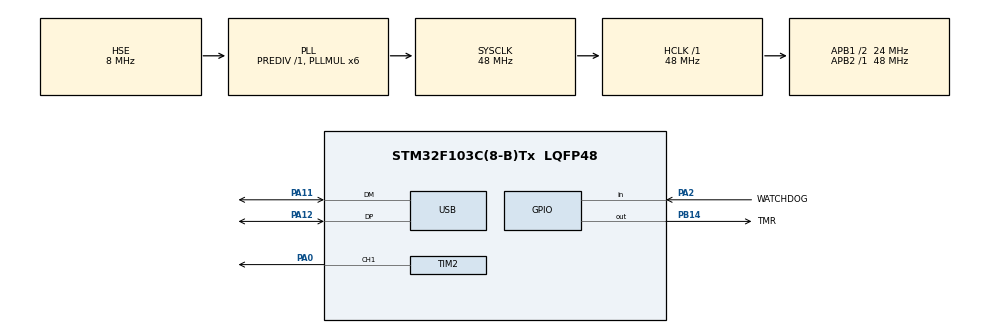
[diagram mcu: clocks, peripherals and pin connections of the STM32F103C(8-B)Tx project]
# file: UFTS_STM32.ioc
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Mcu.Family=STM32F1
Mcu.Name=STM32F103C(8-B)Tx
Mcu.Package=LQFP48
NVIC.PriorityGroup=NVIC_PRIORITYGROUP_4
NVIC.USB_LP_CAN1_RX0_IRQn=true\:0\:0\:false\:false\:true\:false\:true
PA0-WKUP.Signal=S_TIM2_CH1_ETR
PA11.Mode=Device
PA11.Signal=USB_DM
PA12.Mode=Device
PA12.Signal=USB_DP
PA13.Mode=Serial_Wire
PA13.Signal=SYS_JTMS-SWDIO
PA14.Mode=Serial_Wire
PA14.Signal=SYS_JTCK-SWCLK
PA2.GPIO_Label=WATCHDOG
PA2.Signal=GPIO_Input
PB14.GPIO_Label=TMR
PB14.GPIO_Speed=GPIO_SPEED_FREQ_HIGH
PB14.Signal=GPIO_Output
PD0-OSC_IN.Mode=HSE-External-Oscillator
PD0-OSC_IN.Signal=RCC_OSC_IN
PD1-OSC_OUT.Mode=HSE-External-Oscillator
PD1-OSC_OUT.Signal=RCC_OSC_OUT
ProjectManager.HeapSize=0x200
ProjectManager.StackSize=0x400
ProjectManager.TargetToolchain=SW4STM32
RCC.AHBFreq_Value=48000000
RCC.APB1CLKDivider=RCC_HCLK_DIV2
RCC.APB1Freq_Value=24000000
RCC.APB1TimFreq_Value=48000000
RCC.APB2Freq_Value=48000000
RCC.APB2TimFreq_Value=48000000
RCC.HCLKFreq_Value=48000000
RCC.PLLMUL=RCC_PLL_MUL6
RCC.SYSCLKFreq_VALUE=48000000
RCC.SYSCLKSource=RCC_SYSCLKSOURCE_PLLCLK
RCC.USBFreq_Value=48000000
SH.S_TIM2_CH1_ETR.0=TIM2_CH1,PWM Generation1 CH1
TIM2.Channel-PWM\ Generation1\ CH1=TIM_CHANNEL_1
TIM2.Period=255-1
TIM2.Prescaler=738-1
USB_DEVICE.CLASS_NAME_FS=CDC
USB_DEVICE.VirtualMode=Cdc
USB_DEVICE.VirtualModeFS=Cdc_FS
VP_TIM2_VS_ClockSourceINT.Mode=Internal
VP_USB_DEVICE_VS_USB_DEVICE_CDC_FS.Mode=CDC_FS
board=custom

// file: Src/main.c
/* USER CODE BEGIN Header */
/**
  ******************************************************************************
  * @file           : main.c
  * @brief          : Main program body
  ******************************************************************************
  * @attention
  *
  * <h2><center>&copy; Copyright (c) 2020 STMicroelectronics.
  * All rights reserved.</center></h2>
  *
  * This software component is licensed by ST under Ultimate Liberty license
  * SLA0044, the "License"; You may not use this file except in compliance with
  * the License. You may obtain a copy of the License at:
  *                             www.st.com/SLA0044
  *
  ******************************************************************************
  */
/* USER CODE END Header */

#include "main.h"
#include "usb_device.h"

/* USER CODE BEGIN Includes */
#include <stdio.h>
#include <stdlib.h>
#include <time.h>
#include <string.h>
/* USER CODE END Includes */

TIM_HandleTypeDef htim2;

void SystemClock_Config(void);
static void MX_GPIO_Init(void);
static void MX_TIM2_Init(void);

/* USER CODE BEGIN 0 */
void postcodeInit() {
	htim2.Instance->CCR1 = 100;
	HAL_Delay(100);
	htim2.Instance->CCR1 = 0;
}
/* USER CODE END 0 */

int main(void)
{

  /* MCU Configuration--------------------------------------------------------*/

  /* Reset of all peripherals, Initializes the Flash interface and the Systick. */
  HAL_Init();

  /* USER CODE BEGIN Init */
  srand(time(0));

  char buf[16];
  /* USER CODE END Init */

  /* Configure the system clock */
  SystemClock_Config();

  /* Initialize all configured peripherals */
  MX_GPIO_Init();
  MX_USB_DEVICE_Init();
  MX_TIM2_Init();
  /* USER CODE BEGIN 2 */
  HAL_TIM_PWM_Start(&htim2, TIM_CHANNEL_1);
  /* USER CODE END 2 */

  /* Infinite loop */
  /* USER CODE BEGIN WHILE */
  postcodeInit();

  while (1)
  {
	  int watchdogValue = HAL_GPIO_ReadPin(WATCHDOG_GPIO_Port, WATCHDOG_Pin);

	  snprintf(buf, sizeof buf, "$%d; ", watchdogValue);

	  CDC_Transmit_FS(buf, strlen(buf));
	  memset(buf, 0, sizeof(buf));

	  int randNumber = rand() % 10;
	  if (randNumber >= 3) {
		  HAL_GPIO_WritePin(TMR_GPIO_Port, TMR_Pin, GPIO_PIN_SET);
	  }

	  HAL_Delay(1);

	  HAL_GPIO_WritePin(TMR_GPIO_Port, TMR_Pin, GPIO_PIN_RESET);

	  HAL_Delay(1);
    /* USER CODE END WHILE */

  }
}

void SystemClock_Config(void)
{
  RCC_OscInitTypeDef RCC_OscInitStruct = {0};
  RCC_ClkInitTypeDef RCC_ClkInitStruct = {0};
  RCC_PeriphCLKInitTypeDef PeriphClkInit = {0};

  /** Initializes the CPU, AHB and APB busses clocks
  */
  RCC_OscInitStruct.OscillatorType = RCC_OSCILLATORTYPE_HSE;
  RCC_OscInitStruct.HSEState = RCC_HSE_ON;
  RCC_OscInitStruct.HSEPredivValue = RCC_HSE_PREDIV_DIV1;
  RCC_OscInitStruct.HSIState = RCC_HSI_ON;
  RCC_OscInitStruct.PLL.PLLState = RCC_PLL_ON;
  RCC_OscInitStruct.PLL.PLLSource = RCC_PLLSOURCE_HSE;
  RCC_OscInitStruct.PLL.PLLMUL = RCC_PLL_MUL6;
  if (HAL_RCC_OscConfig(&RCC_OscInitStruct) != HAL_OK)
  {
    Error_Handler();
  }
  /** Initializes the CPU, AHB and APB busses clocks
  */
  RCC_ClkInitStruct.ClockType = RCC_CLOCKTYPE_HCLK|RCC_CLOCKTYPE_SYSCLK
                              |RCC_CLOCKTYPE_PCLK1|RCC_CLOCKTYPE_PCLK2;
  RCC_ClkInitStruct.SYSCLKSource = RCC_SYSCLKSOURCE_PLLCLK;
  RCC_ClkInitStruct.AHBCLKDivider = RCC_SYSCLK_DIV1;
  RCC_ClkInitStruct.APB1CLKDivider = RCC_HCLK_DIV2;
  RCC_ClkInitStruct.APB2CLKDivider = RCC_HCLK_DIV1;

  if (HAL_RCC_ClockConfig(&RCC_ClkInitStruct, FLASH_LATENCY_1) != HAL_OK)
  {
    Error_Handler();
  }
  PeriphClkInit.PeriphClockSelection = RCC_PERIPHCLK_USB;
  PeriphClkInit.UsbClockSelection = RCC_USBCLKSOURCE_PLL;
  if (HAL_RCCEx_PeriphCLKConfig(&PeriphClkInit) != HAL_OK)
  {
    Error_Handler();
  }
}

static void MX_TIM2_Init(void)
{

  TIM_ClockConfigTypeDef sClockSourceConfig = {0};
  TIM_MasterConfigTypeDef sMasterConfig = {0};
  TIM_OC_InitTypeDef sConfigOC = {0};

  htim2.Instance = TIM2;
  htim2.Init.Prescaler = 738-1;
  htim2.Init.CounterMode = TIM_COUNTERMODE_UP;
  htim2.Init.Period = 255-1;
  htim2.Init.ClockDivision = TIM_CLOCKDIVISION_DIV1;
  htim2.Init.AutoReloadPreload = TIM_AUTORELOAD_PRELOAD_DISABLE;
  if (HAL_TIM_Base_Init(&htim2) != HAL_OK)
  {
    Error_Handler();
  }
  sClockSourceConfig.ClockSource = TIM_CLOCKSOURCE_INTERNAL;
  if (HAL_TIM_ConfigClockSource(&htim2, &sClockSourceConfig) != HAL_OK)
  {
    Error_Handler();
  }
  if (HAL_TIM_PWM_Init(&htim2) != HAL_OK)
  {
    Error_Handler();
  }
  sMasterConfig.MasterOutputTrigger = TIM_TRGO_RESET;
  sMasterConfig.MasterSlaveMode = TIM_MASTERSLAVEMODE_DISABLE;
  if (HAL_TIMEx_MasterConfigSynchronization(&htim2, &sMasterConfig) != HAL_OK)
  {
    Error_Handler();
  }
  sConfigOC.OCMode = TIM_OCMODE_PWM1;
  sConfigOC.Pulse = 0;
  sConfigOC.OCPolarity = TIM_OCPOLARITY_HIGH;
  sConfigOC.OCFastMode = TIM_OCFAST_DISABLE;
  if (HAL_TIM_PWM_ConfigChannel(&htim2, &sConfigOC, TIM_CHANNEL_1) != HAL_OK)
  {
    Error_Handler();
  }
  HAL_TIM_MspPostInit(&htim2);

}

static void MX_GPIO_Init(void)
{
  GPIO_InitTypeDef GPIO_InitStruct = {0};

  /* GPIO Ports Clock Enable */
  __HAL_RCC_GPIOD_CLK_ENABLE();
  __HAL_RCC_GPIOA_CLK_ENABLE();
  __HAL_RCC_GPIOB_CLK_ENABLE();

  /*Configure GPIO pin Output Level */
  HAL_GPIO_WritePin(TMR_GPIO_Port, TMR_Pin, GPIO_PIN_RESET);

  /*Configure GPIO pin : WATCHDOG_Pin */
  GPIO_InitStruct.Pin = WATCHDOG_Pin;
  GPIO_InitStruct.Mode = GPIO_MODE_INPUT;
  GPIO_InitStruct.Pull = GPIO_NOPULL;
  HAL_GPIO_Init(WATCHDOG_GPIO_Port, &GPIO_InitStruct);

  /*Configure GPIO pin : TMR_Pin */
  GPIO_InitStruct.Pin = TMR_Pin;
  GPIO_InitStruct.Mode = GPIO_MODE_OUTPUT_PP;
  GPIO_InitStruct.Pull = GPIO_NOPULL;
  GPIO_InitStruct.Speed = GPIO_SPEED_FREQ_HIGH;
  HAL_GPIO_Init(TMR_GPIO_Port, &GPIO_InitStruct);

}

void Error_Handler(void)
{
}

/************************ (C) COPYRIGHT STMicroelectronics *****END OF FILE****/
